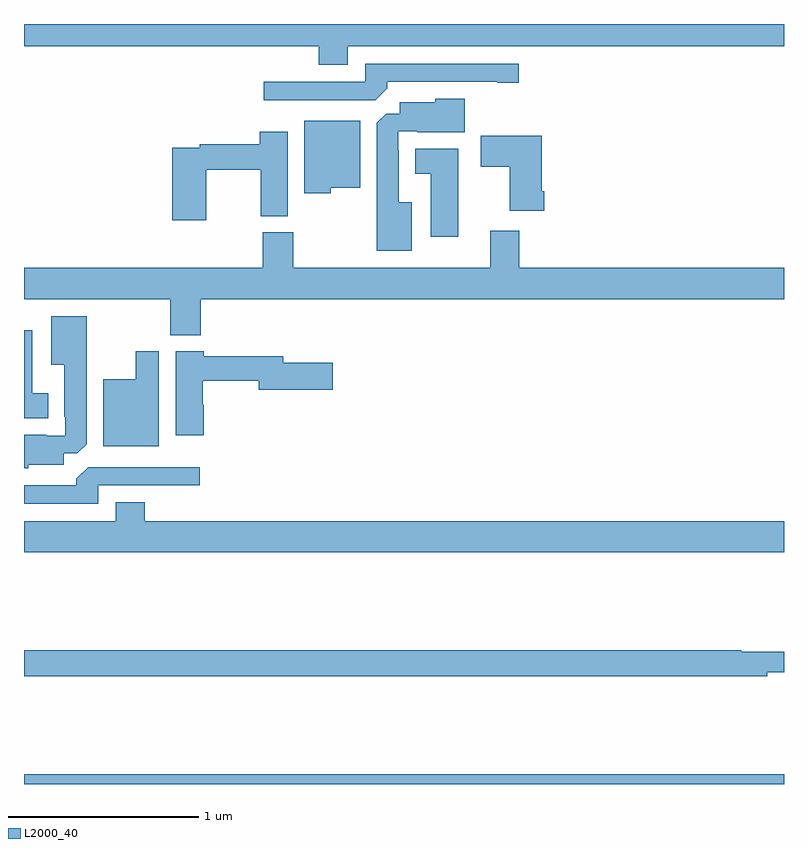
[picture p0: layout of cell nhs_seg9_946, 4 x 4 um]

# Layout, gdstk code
import gdstk
lib = gdstk.Library(unit=1e-6, precision=1e-09)
def R(c, l, rs):  # rectangles x0, y0, x1, y1
    for r in rs: c.add(gdstk.rectangle(r[:2], r[2:], *l))
def P(c, l, *ps):  # polygons
    for p in ps: c.add(gdstk.Polygon(p, *l))
L2000_40 = (2000, 40)

nhs_seg9_946 = lib.new_cell('nhs_seg9_946')
R(nhs_seg9_946, L2000_40, [(161,1228.5,165,1228.552)])
P(nhs_seg9_946, L2000_40, [(162.703,1232.384),(165,1232.384),(165,1232.5),(161,1232.5),(161,1232.384),(162.551,1232.384),(162.551,1232.285),(162.703,1232.285)],
  [(162.911,1232.162),(162.911,1232.196),(163.49,1232.196),(163.49,1232.191),(163.603,1232.191),(163.603,1232.292),(162.795,1232.292),(162.795,1232.196),(162.261,1232.196),(162.261,1232.1),(162.849,1232.1)],
  [(163.042,1231.561),(162.973,1231.561),(162.973,1231.835),(162.969,1231.835),(162.969,1231.935),(163.069,1231.935),(163.069,1231.931),(163.321,1231.931),(163.321,1232.107),(163.164,1232.107),(163.164,1232.089),(162.977,1232.089),(162.977,1232.028),(162.906,1232.028),(162.857,1231.979),(162.857,1231.307),(163.042,1231.307)],
  [(162.615,1231.637),(162.769,1231.637),(162.769,1231.99),(162.476,1231.99),(162.476,1231.61),(162.615,1231.61)],
  [(161.958,1231.732),(162.247,1231.732),(162.247,1231.489),(162.388,1231.489),(162.388,1231.933),(162.242,1231.933),(162.242,1231.868),(161.926,1231.868),(161.926,1231.848),(161.78,1231.848),(161.78,1231.467),(161.958,1231.467)],
  [(163.739,1231.621),(163.726,1231.621),(163.726,1231.912),(163.404,1231.912),(163.404,1231.75),(163.556,1231.75),(163.556,1231.517),(163.739,1231.517)],
  [(163.285,1231.843),(163.058,1231.843),(163.058,1231.712),(163.142,1231.712),(163.142,1231.38),(163.285,1231.38)],
  [(161.93,1231.052),(165,1231.052),(165,1231.216),(163.607,1231.216),(163.607,1231.411),(163.454,1231.411),(163.454,1231.216),(162.417,1231.216),(162.417,1231.404),(162.257,1231.404),(162.257,1231.216),(161,1231.216),(161,1231.052),(161.77,1231.052),(161.77,1230.863),(161.93,1230.863)],
  [(161.022,1230.179),(161.209,1230.179),(161.209,1230.24),(161.28,1230.24),(161.329,1230.289),(161.329,1230.961),(161.144,1230.961),(161.144,1230.707),(161.213,1230.707),(161.213,1230.433),(161.217,1230.433),(161.217,1230.333),(161.117,1230.333),(161.117,1230.337),(161,1230.337),(161,1230.161),(161.022,1230.161)],
  [(161.128,1230.556),(161.044,1230.556),(161.044,1230.889),(161,1230.889),(161,1230.425),(161.128,1230.425)],
  [(161.71,1230.778),(161.588,1230.778),(161.588,1230.631),(161.417,1230.631),(161.417,1230.278),(161.71,1230.278)],
  [(161.945,1230.497),(161.94,1230.497),(161.94,1230.622),(162.236,1230.622),(162.236,1230.575),(162.625,1230.575),(162.625,1230.717),(162.364,1230.717),(162.364,1230.751),(161.945,1230.751),(161.945,1230.778),(161.798,1230.778),(161.798,1230.336),(161.945,1230.336)],
  [(161.391,1230.072),(161.926,1230.072),(161.926,1230.168),(161.337,1230.168),(161.276,1230.106),(161.276,1230.072),(161,1230.072),(161,1229.976),(161.391,1229.976)],
  [(165,1229.884),(161.636,1229.884),(161.636,1229.983),(161.483,1229.983),(161.483,1229.884),(161,1229.884),(161,1229.72),(165,1229.72)],
  [(164.912,1229.087),(165,1229.087),(165,1229.197),(164.776,1229.197),(164.776,1229.204),(161,1229.204),(161,1229.068),(164.912,1229.068)])

lib.write_gds('nhs_seg9_946.gds')
